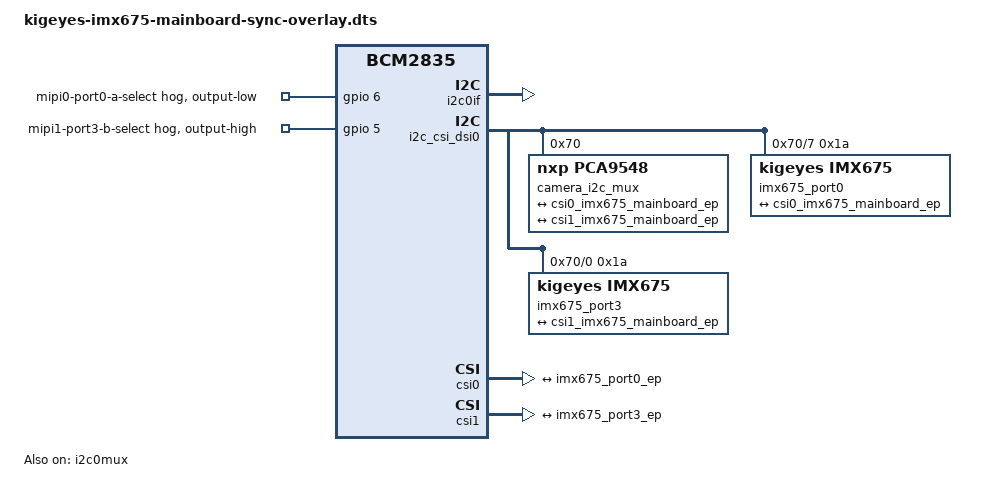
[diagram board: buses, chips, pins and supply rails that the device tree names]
// SPDX-License-Identifier: GPL-2.0-only
/dts-v1/;
/plugin/;

/*
 * KigEyes mainboard: IMX675 modules in physical ports 0 and 3.
 *
 * The mainboard places a TCA9548A at 0x70 on the CM5 CAM0 control bus.
 * Because the schematic intentionally reverses the TCA channel order,
 * physical port 0 is channel 7 and physical port 3 is channel 0.  The two
 * TS3DV642 CSI switches route port 0 through MIPI0/A and port 3 through
 * MIPI1/B.  Their shared enable is owned by the ESP32-C6 firmware; Linux owns
 * only the two select inputs on GPIO6 and GPIO5 respectively.
 *
 * The XHS_03 and XVS_03 solder links must be closed.  Port 0 is the timing
 * master; port 3 is made high-impedance and follows the shared timing nets.
 */

/ {
	compatible = "brcm,bcm2835";

	fragment@0 {
		target = <&i2c0if>;
		__overlay__ { status = "okay"; };
	};

	fragment@1 {
		target = <&i2c0mux>;
		__overlay__ { status = "okay"; };
	};

	fragment@2 {
		target = <&i2c_csi_dsi0>;
		__overlay__ {
			#address-cells = <1>;
			#size-cells = <0>;
			status = "okay";

			camera_i2c_mux: i2c-mux@70 {
				/* Linux's pca954x binding uses the original NXP-compatible
				 * identifier for pin-compatible TI TCA9548A parts. */
				compatible = "nxp,pca9548";
				reg = <0x70>;
				#address-cells = <1>;
				#size-cells = <0>;
				i2c-mux-idle-disconnect;

				/* TCA channel 7 is physical camera port 0. */
				cam_port0_i2c: i2c@7 {
					reg = <7>;
					#address-cells = <1>;
					#size-cells = <0>;

					imx675_port0: camera@1a {
						compatible = "kigeyes,imx675";
						reg = <0x1a>;
						kigeyes,controller-address = <0x30>;
						kigeyes,sync-role = "master";
						rotation = <0>;
						orientation = <2>;

						port {
							imx675_port0_ep: endpoint {
								clock-lanes = <0>;
								data-lanes = <1 2 3 4>;
								clock-noncontinuous;
								link-frequencies = /bits/ 64 <594000000 297000000>;
								remote-endpoint = <&csi0_imx675_mainboard_ep>;
							};
						};
					};
				};

				/* TCA channel 0 is physical camera port 3. */
				cam_port3_i2c: i2c@0 {
					reg = <0>;
					#address-cells = <1>;
					#size-cells = <0>;

					imx675_port3: camera@1a {
						compatible = "kigeyes,imx675";
						reg = <0x1a>;
						kigeyes,controller-address = <0x30>;
						kigeyes,sync-role = "slave";
						rotation = <0>;
						orientation = <2>;

						port {
							imx675_port3_ep: endpoint {
								clock-lanes = <0>;
								data-lanes = <1 2 3 4>;
								clock-noncontinuous;
								link-frequencies = /bits/ 64 <594000000 297000000>;
								remote-endpoint = <&csi1_imx675_mainboard_ep>;
							};
						};
					};
				};
			};
		};
	};

	fragment@3 {
		target = <&csi0>;
		__overlay__ {
			status = "okay";
			port {
				csi0_imx675_mainboard_ep: endpoint {
					clock-lanes = <0>;
					data-lanes = <1 2 3 4>;
					clock-noncontinuous;
					remote-endpoint = <&imx675_port0_ep>;
				};
			};
		};
	};

	fragment@4 {
		target = <&csi1>;
		__overlay__ {
			status = "okay";
			port {
				csi1_imx675_mainboard_ep: endpoint {
					clock-lanes = <0>;
					data-lanes = <1 2 3 4>;
					clock-noncontinuous;
					remote-endpoint = <&imx675_port3_ep>;
				};
			};
		};
	};

	/* The modules generate their own rails and clocks. */
	fragment@5 {
		target = <&cam0_reg>;
		__overlay__ { status = "disabled"; };
	};

	/* TS3DV642 SEL1 is tied high: SEL2 low selects A, high selects B. */
	fragment@6 {
		target = <&gpio>;
		__overlay__ {
			mipi0_port0_select: mipi0-port0-select {
				gpio-hog;
				gpios = <6 0>;
				output-low;
				line-name = "mipi0-port0-a-select";
			};

			mipi1_port3_select: mipi1-port3-select {
				gpio-hog;
				gpios = <5 0>;
				output-high;
				line-name = "mipi1-port3-b-select";
			};
		};
	};
};
